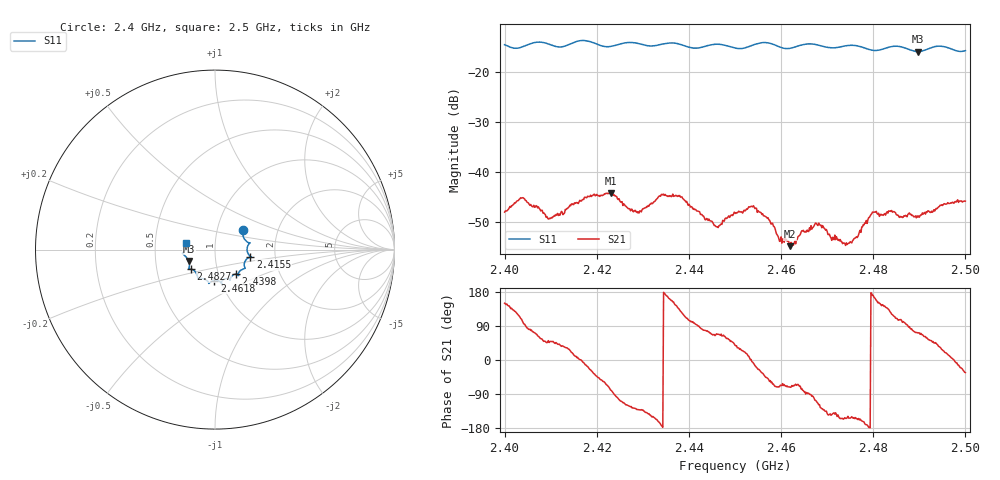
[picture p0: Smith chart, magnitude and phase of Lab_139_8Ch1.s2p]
# Hz S RI R 50
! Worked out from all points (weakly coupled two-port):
!   601 points, 2.4 GHz to 2.5 GHz, reference 50 ohm
!   highest |S21| = -44.20 dB at 2.4232 GHz (marker M1); lowest = -54.8 dB at 2.4618 GHz (marker M2)
!   lowest |S11| = -15.9 dB at 2.4897 GHz (marker M3), VSWR 1.38, Z = 36.9 - j4.81 ohm
!   |S11| at or under -10 dB: start of sweep to end of sweep
!   S12 and S22 are empty: the file has one direction only
!   S11 on the Smith chart (normalised r, x): 2.4 GHz: 1.33, +0.29; 2.4155 GHz: 1.49, -0.12; 2.4398 GHz: 1.21, -0.34; 2.4618 GHz: 0.94, -0.33; 2.4827 GHz: 0.75, -0.17; 2.5 GHz: 0.72, +0.06
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2.4e9  0.155 0.1066  -0.00344 0.00199  0 0  0 0
2.403833e9  0.1722 0.0489  -0.00126 0.00537  0 0  0 0
2.409833e9  0.1866 0.0286  0.00225 0.00256  0 0  0 0
2.4155e9  0.1977 -0.0398  0.00486 0.000827  0 0  0 0
2.416667e9  0.2026 -0.043  0.00513 -5.29e-05  0 0  0 0
2.423167e9  0.163 -0.0786  0.00105 -0.00608  0 0  0 0
2.429e9  0.162 -0.1063  -0.00261 -0.00301  0 0  0 0
2.433333e9  0.1299 -0.1341  -0.00535 -0.00171  0 0  0 0
2.4375e9  0.1305 -0.1421  -0.00432 0.00371  0 0  0 0
2.439833e9  0.1153 -0.1361  -0.00132 0.00446  0 0  0 0
2.446e9  0.0841 -0.1706  0.00101 0.00264  0 0  0 0
2.45e9  0.065 -0.1617  0.00305 0.00246  0 0  0 0
2.454167e9  0.0354 -0.1852  0.00437 -0.000862  0 0  0 0
2.461833e9  -0.00306 -0.1727  0.00059 -0.00171  0 0  0 0
2.466667e9  -0.0346 -0.1881  -0.000265 -0.00267  0 0  0 0
2.468667e9  -0.0382 -0.1791  -0.00175 -0.00237  0 0  0 0
2.474333e9  -0.0905 -0.1603  -0.00167 -0.000866  0 0  0 0
2.479833e9  -0.1087 -0.1248  -0.00392 0.000648  0 0  0 0
2.482667e9  -0.1351 -0.1087  -0.00282 0.00241  0 0  0 0
2.483333e9  -0.1402 -0.1083  -0.00282 0.00296  0 0  0 0
2.489667e9  -0.1472 -0.0635  0.00112 0.00336  0 0  0 0
2.5e9  -0.1593 0.039  0.00428 -0.0028  0 0  0 0
